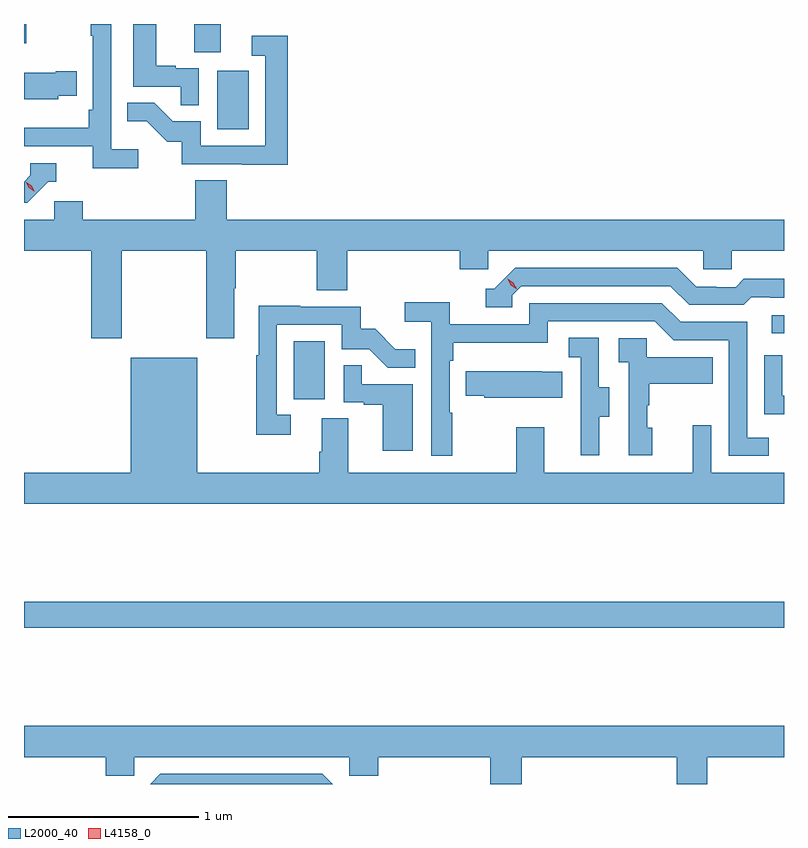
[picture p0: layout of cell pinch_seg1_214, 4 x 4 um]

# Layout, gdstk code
import gdstk
lib = gdstk.Library(unit=1e-6, precision=1e-09)
def R(c, l, rs):  # rectangles x0, y0, x1, y1
    for r in rs: c.add(gdstk.rectangle(r[:2], r[2:], *l))
def P(c, l, *ps):  # polygons
    for p in ps: c.add(gdstk.Polygon(p, *l))
L2000_40 = (2000, 40)
L4158_0 = (4158, 0)

pinch_seg1_214 = lib.new_cell('pinch_seg1_214')
R(pinch_seg1_214, L2000_40, [(973.534,571.06,977.534,571.196), (974.954,572.262,975.118,572.569), (977.469,572.61,977.534,572.706), (974.552,573.684,974.716,573.991), (974.429,574.09,974.569,574.238), (973.534,574.137,973.545,574.238)])
P(pinch_seg1_214, L2000_40, [(974.134,573.58),(973.992,573.58),(973.992,574.238),(973.884,574.238),(973.884,574.175),(973.896,574.175),(973.896,573.787),(973.876,573.787),(973.876,573.691),(973.534,573.691),(973.534,573.594),(973.895,573.594),(973.895,573.478),(974.134,573.478)],
  [(974.454,574.005),(974.333,574.005),(974.333,574.018),(974.23,574.018),(974.23,574.238),(974.108,574.238),(974.108,573.909),(974.359,573.909),(974.359,573.811),(974.454,573.811)],
  [(974.921,574.177),(974.733,574.177),(974.733,574.071),(974.805,574.071),(974.805,573.597),(974.463,573.597),(974.463,573.726),(974.318,573.726),(974.22,573.824),(974.077,573.824),(974.077,573.725),(974.181,573.725),(974.288,573.618),(974.365,573.618),(974.365,573.501),(974.683,573.501),(974.683,573.496),(974.921,573.496)],
  [(973.713,573.86),(973.811,573.86),(973.811,573.99),(973.7,573.99),(973.7,573.982),(973.534,573.982),(973.534,573.842),(973.713,573.842)],
  [(973.662,573.408),(973.705,573.408),(973.705,573.504),(973.566,573.504),(973.566,573.441),(973.534,573.409),(973.534,573.297),(973.551,573.297)],
  [(973.889,572.583),(974.049,572.583),(974.049,573.044),(974.494,573.044),(974.494,572.583),(974.641,572.583),(974.641,572.848),(974.649,572.848),(974.649,573.044),(975.076,573.044),(975.076,572.836),(975.236,572.836),(975.236,573.044),(975.827,573.044),(975.827,572.946),(975.978,572.946),(975.978,573.044),(977.109,573.044),(977.109,572.946),(977.259,572.946),(977.259,573.044),(977.534,573.044),(977.534,573.208),(974.6,573.208),(974.6,573.416),(974.435,573.416),(974.435,573.208),(973.844,573.208),(973.844,573.306),(973.692,573.306),(973.692,573.208),(973.534,573.208),(973.534,573.044),(973.889,573.044)],
  [(976.104,572.811),(976.152,572.859),(976.935,572.859),(977.034,572.76),(977.323,572.76),(977.362,572.799),(977.461,572.799),(977.461,572.796),(977.534,572.796),(977.534,572.896),(977.323,572.896),(977.281,572.853),(977.178,572.853),(977.178,572.856),(977.071,572.856),(976.972,572.955),(976.119,572.955),(976.008,572.844),(975.965,572.844),(975.965,572.748),(976.104,572.748)],
  [(975.787,572.192),(975.774,572.192),(975.774,572.465),(975.794,572.465),(975.794,572.561),(976.29,572.561),(976.29,572.673),(976.854,572.673),(976.953,572.574),(977.244,572.574),(977.244,571.965),(977.453,571.965),(977.453,572.061),(977.34,572.061),(977.34,572.67),(976.99,572.67),(976.891,572.769),(976.194,572.769),(976.194,572.658),(975.776,572.658),(975.776,572.774),(975.537,572.774),(975.537,572.672),(975.678,572.672),(975.678,571.965),(975.787,571.965)],
  [(974.938,572.181),(974.865,572.181),(974.865,572.655),(975.207,572.655),(975.207,572.526),(975.351,572.526),(975.449,572.428),(975.593,572.428),(975.593,572.527),(975.489,572.527),(975.382,572.634),(975.306,572.634),(975.306,572.751),(974.987,572.751),(974.987,572.756),(974.769,572.756),(974.769,572.495),(974.757,572.495),(974.757,572.076),(974.938,572.076)],
  [(976.561,572.17),(976.615,572.17),(976.615,572.325),(976.56,572.325),(976.56,572.588),(976.401,572.588),(976.401,572.485),(976.464,572.485),(976.464,572.181),(976.463,572.181),(976.463,571.968),(976.561,571.968)],
  [(976.84,572.112),(976.815,572.112),(976.815,572.231),(976.825,572.231),(976.825,572.345),(977.159,572.345),(977.159,572.485),(976.812,572.485),(976.812,572.583),(976.665,572.583),(976.665,572.459),(976.716,572.459),(976.716,571.968),(976.84,571.968)],
  [(977.534,572.282),(977.526,572.282),(977.526,572.494),(977.43,572.494),(977.43,572.184),(977.534,572.184)],
  [(977.534,571.876),(977.151,571.876),(977.151,572.125),(977.054,572.125),(977.054,571.876),(976.273,571.876),(976.273,572.116),(976.126,572.116),(976.126,571.876),(975.241,571.876),(975.241,572.162),(975.101,572.162),(975.101,571.988),(975.089,571.988),(975.089,571.876),(974.446,571.876),(974.446,572.482),(974.096,572.482),(974.096,571.876),(973.534,571.876),(973.534,571.712),(977.534,571.712)],
  [(975.58,572.343),(975.311,572.343),(975.311,572.441),(975.216,572.441),(975.216,572.247),(975.323,572.247),(975.323,572.235),(975.422,572.235),(975.422,571.992),(975.58,571.992)],
  [(976.367,572.407),(976.259,572.407),(976.259,572.41),(975.859,572.41),(975.859,572.281),(975.957,572.281),(975.957,572.27),(976.367,572.27)],
  [(976.154,570.38),(976.97,570.38),(976.97,570.238),(977.13,570.238),(977.13,570.38),(977.534,570.38),(977.534,570.544),(973.534,570.544),(973.534,570.38),(973.965,570.38),(973.965,570.282),(974.115,570.282),(974.115,570.38),(975.246,570.38),(975.246,570.282),(975.398,570.282),(975.398,570.38),(975.989,570.38),(975.989,570.238),(976.154,570.238)],
  [(975.105,570.291),(974.252,570.291),(974.199,570.238),(975.158,570.238)])
P(pinch_seg1_214, L4158_0, [(973.59,573.355),(973.559,573.375),(973.542,573.407),(973.542,573.408),(973.542,573.408),(973.574,573.388),(973.59,573.356),(973.59,573.355)],
  [(976.126,572.844),(976.095,572.863),(976.079,572.895),(976.079,572.896),(976.079,572.896),(976.11,572.876),(976.127,572.844),(976.127,572.844)])

lib.write_gds('pinch_seg1_214.gds')
